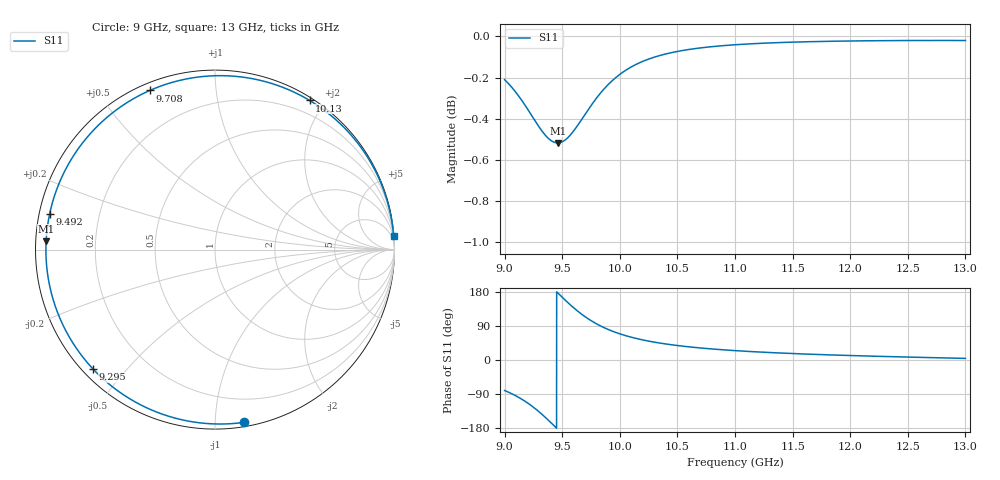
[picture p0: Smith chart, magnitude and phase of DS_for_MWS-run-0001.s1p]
! TOUCHSTONE file generated by CST DESIGN STUDIO
! Date and time: Wed Feb  5 13:31:08 2025
! Project name: C:\Work\MatlabApps\UnitCellOptimizationMatlab\CST\unitcell.cst
! Tree item: Tasks\Sweep1\SPara1\S-Parameters
! Header version: 2024
! Port assignment regex: !\s*Touchstone port\s*([0-9]+)\s*=\s*(CST MWS port|CST DES external port|CST DES block port)\s*(.+)\s* \(\"(.*)\"\)(\s*mode\s*([0-9]+))?.*
! Touchstone port assignment:
! Touchstone port 1 = CST DES external port 1 ("")
# GHz S MA R 50
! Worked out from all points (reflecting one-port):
!   4001 points, 9 GHz to 13 GHz, reference 50 ohm
!   lowest |S11| = -0.5 dB at 9.461 GHz (marker M1), VSWR 33.57, Z = 1.49 + j1.22 ohm
!   phase of S11 starts at -80 deg and turns -275 deg over the sweep
!   S11 on the Smith chart (normalised r, x): 9 GHz: 0.03, -1.18; 9.295 GHz: 0.03, -0.41; 9.492 GHz: 0.03, +0.11; 9.708 GHz: 0.03, +0.67; 10.13 GHz: 0.03, +1.82; 13 GHz: 1, +27
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9  0.9761 -80.5
9.092  0.9696 -93.6
9.166  0.9633 -106.6
9.232  0.957 -120.4
9.295  0.951 -135.6
9.338  0.9473 -147.0
9.384  0.9443 -160.0
9.423  0.9427 -171.5
9.461  0.9421 177.2
9.492  0.9425 168.0
9.5  0.9427 165.6
9.549  0.9449 151.5
9.606  0.949 136.1
9.656  0.9534 123.8
9.708  0.9582 112.2
9.765  0.9633 101.2
9.829  0.9685 90.4
9.913  0.9742 78.8
10  0.9789 69.1
10.132  0.9841 57.6
10.298  0.9884 47.2
10.5  0.9916 38.2
10.723  0.9937 31.1
11  0.9953 24.7
11.5  0.9968 17.0
12  0.9974 11.8
12.5  0.9977 7.7
13  0.9977 4.3
